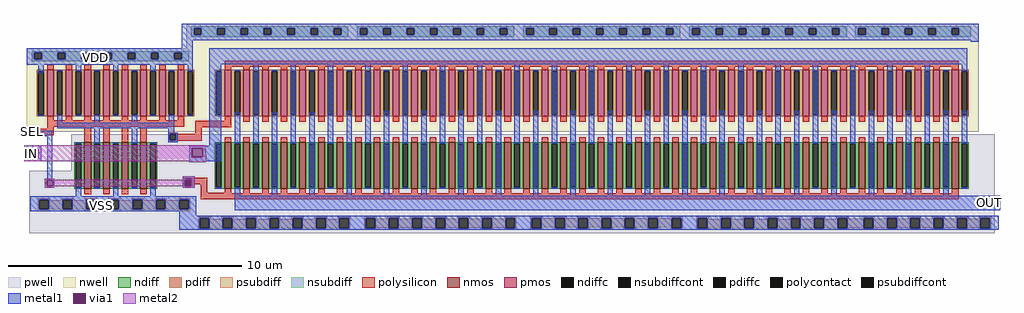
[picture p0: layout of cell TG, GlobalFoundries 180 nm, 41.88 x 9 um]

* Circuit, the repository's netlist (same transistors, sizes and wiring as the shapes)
** sch_path: /home/shahid/GF180Projects/GF_INV/Xschem/TG.sch
**.subckt TG VDD VSS IN SEL OUT
*.iopin VDD
*.iopin VSS
*.ipin IN
*.ipin SEL
*.opin OUT
XM8 IN SEL_B OUT VDD pfet_03v3 L=0.28u W=80u nf=1 ad='int((nf+1)/2) * W/nf * 0.18u' as='int((nf+2)/2) * W/nf * 0.18u'
+ pd='2*int((nf+1)/2) * (W/nf + 0.18u)' ps='2*int((nf+2)/2) * (W/nf + 0.18u)' nrd='0.18u / W' nrs='0.18u / W'
+ sa=0 sb=0 sd=0 m=1
XM12 SEL_B SEL VSS VSS nfet_03v3 L=0.28u W=8u nf=1 ad='int((nf+1)/2) * W/nf * 0.18u' as='int((nf+2)/2) * W/nf * 0.18u'
+ pd='2*int((nf+1)/2) * (W/nf + 0.18u)' ps='2*int((nf+2)/2) * (W/nf + 0.18u)' nrd='0.18u / W' nrs='0.18u / W'
+ sa=0 sb=0 sd=0 m=1
XM1 SEL_B SEL VDD VDD pfet_03v3 L=0.28u W=16u nf=1 ad='int((nf+1)/2) * W/nf * 0.18u' as='int((nf+2)/2) * W/nf * 0.18u'
+ pd='2*int((nf+1)/2) * (W/nf + 0.18u)' ps='2*int((nf+2)/2) * (W/nf + 0.18u)' nrd='0.18u / W' nrs='0.18u / W'
+ sa=0 sb=0 sd=0 m=1
XM2 IN SEL OUT VSS nfet_03v3 L=0.28u W=80u nf=1 ad='int((nf+1)/2) * W/nf * 0.18u' as='int((nf+2)/2) * W/nf * 0.18u'
+ pd='2*int((nf+1)/2) * (W/nf + 0.18u)' ps='2*int((nf+2)/2) * (W/nf + 0.18u)' nrd='0.18u / W' nrs='0.18u / W'
+ sa=0 sb=0 sd=0 m=1
**.ends
.end

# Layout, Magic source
magic
tech gf180mcuC
magscale 1 10
<< nwell >>
rect -1270 60 5529 271
rect -2639 5 5529 60
rect -2374 -36 -2311 5
rect -2174 -36 -2111 5
rect -1974 -36 -1911 5
rect -1774 -36 -1711 5
rect -1574 -36 -1511 5
rect -1374 -36 -1311 5
rect -1270 -72 5529 5
<< pwell >>
rect -1498 -993 -517 -680
rect 4061 -993 5664 -680
rect -2620 -1529 5664 -993
<< psubdiff >>
rect -2544 -1240 -2437 -1226
rect -2544 -1324 -2531 -1240
rect -2450 -1244 -2437 -1240
rect -2344 -1240 -2237 -1226
rect -2344 -1244 -2331 -1240
rect -2450 -1322 -2331 -1244
rect -2450 -1324 -2437 -1322
rect -2544 -1339 -2437 -1324
rect -2344 -1324 -2331 -1322
rect -2250 -1244 -2237 -1240
rect -2144 -1240 -2037 -1226
rect -2144 -1244 -2131 -1240
rect -2250 -1322 -2131 -1244
rect -2250 -1324 -2237 -1322
rect -2344 -1339 -2237 -1324
rect -2144 -1324 -2131 -1322
rect -2050 -1244 -2037 -1240
rect -1944 -1240 -1837 -1226
rect -1944 -1244 -1931 -1240
rect -2050 -1322 -1931 -1244
rect -2050 -1324 -2037 -1322
rect -2144 -1339 -2037 -1324
rect -1944 -1324 -1931 -1322
rect -1850 -1244 -1837 -1240
rect -1744 -1240 -1637 -1226
rect -1744 -1244 -1731 -1240
rect -1850 -1322 -1731 -1244
rect -1850 -1324 -1837 -1322
rect -1944 -1339 -1837 -1324
rect -1744 -1324 -1731 -1322
rect -1650 -1244 -1637 -1240
rect -1544 -1240 -1437 -1226
rect -1544 -1244 -1531 -1240
rect -1650 -1322 -1531 -1244
rect -1650 -1324 -1637 -1322
rect -1744 -1339 -1637 -1324
rect -1544 -1324 -1531 -1322
rect -1450 -1244 -1437 -1240
rect -1344 -1240 -1237 -1226
rect -1344 -1244 -1331 -1240
rect -1450 -1322 -1331 -1244
rect -1450 -1324 -1437 -1322
rect -1544 -1339 -1437 -1324
rect -1344 -1324 -1331 -1322
rect -1250 -1324 -1237 -1240
rect -1344 -1339 -1237 -1324
rect -1170 -1400 -1063 -1386
rect -1170 -1484 -1157 -1400
rect -1076 -1406 -1063 -1400
rect -970 -1400 -863 -1386
rect -970 -1406 -957 -1400
rect -1076 -1484 -957 -1406
rect -876 -1406 -863 -1400
rect -770 -1400 -663 -1386
rect -770 -1406 -757 -1400
rect -876 -1484 -757 -1406
rect -676 -1406 -663 -1400
rect -570 -1400 -463 -1386
rect -570 -1406 -557 -1400
rect -676 -1484 -557 -1406
rect -476 -1406 -463 -1400
rect -370 -1400 -263 -1386
rect -370 -1406 -357 -1400
rect -476 -1484 -357 -1406
rect -276 -1406 -263 -1400
rect -170 -1400 -63 -1386
rect -170 -1406 -157 -1400
rect -276 -1484 -157 -1406
rect -76 -1406 -63 -1400
rect 30 -1400 137 -1386
rect 30 -1406 43 -1400
rect -76 -1484 43 -1406
rect 124 -1484 137 -1400
rect -1170 -1499 -1063 -1484
rect -970 -1499 -863 -1484
rect -770 -1499 -663 -1484
rect -570 -1499 -463 -1484
rect -370 -1499 -263 -1484
rect -170 -1499 -63 -1484
rect 30 -1499 137 -1484
rect 255 -1400 362 -1386
rect 255 -1484 268 -1400
rect 349 -1404 362 -1400
rect 455 -1400 562 -1386
rect 455 -1404 468 -1400
rect 349 -1482 468 -1404
rect 349 -1484 362 -1482
rect 255 -1499 362 -1484
rect 455 -1484 468 -1482
rect 549 -1404 562 -1400
rect 655 -1400 762 -1386
rect 655 -1404 668 -1400
rect 549 -1482 668 -1404
rect 549 -1484 562 -1482
rect 455 -1499 562 -1484
rect 655 -1484 668 -1482
rect 749 -1404 762 -1400
rect 855 -1400 962 -1386
rect 855 -1404 868 -1400
rect 749 -1482 868 -1404
rect 749 -1484 762 -1482
rect 655 -1499 762 -1484
rect 855 -1484 868 -1482
rect 949 -1404 962 -1400
rect 1055 -1400 1162 -1386
rect 1055 -1404 1068 -1400
rect 949 -1482 1068 -1404
rect 949 -1484 962 -1482
rect 855 -1499 962 -1484
rect 1055 -1484 1068 -1482
rect 1149 -1404 1162 -1400
rect 1255 -1400 1362 -1386
rect 1255 -1404 1268 -1400
rect 1149 -1482 1268 -1404
rect 1149 -1484 1162 -1482
rect 1055 -1499 1162 -1484
rect 1255 -1484 1268 -1482
rect 1349 -1404 1362 -1400
rect 1455 -1400 1562 -1386
rect 1455 -1404 1468 -1400
rect 1349 -1482 1468 -1404
rect 1349 -1484 1362 -1482
rect 1255 -1499 1362 -1484
rect 1455 -1484 1468 -1482
rect 1549 -1484 1562 -1400
rect 1455 -1499 1562 -1484
rect 1680 -1400 1787 -1386
rect 1880 -1400 1987 -1386
rect 2080 -1400 2187 -1386
rect 2280 -1400 2387 -1386
rect 2480 -1400 2587 -1386
rect 2680 -1400 2787 -1386
rect 2880 -1400 2987 -1386
rect 1680 -1484 1693 -1400
rect 1774 -1478 1893 -1400
rect 1774 -1484 1787 -1478
rect 1680 -1499 1787 -1484
rect 1880 -1484 1893 -1478
rect 1974 -1478 2093 -1400
rect 1974 -1484 1987 -1478
rect 1880 -1499 1987 -1484
rect 2080 -1484 2093 -1478
rect 2174 -1478 2293 -1400
rect 2174 -1484 2187 -1478
rect 2080 -1499 2187 -1484
rect 2280 -1484 2293 -1478
rect 2374 -1478 2493 -1400
rect 2374 -1484 2387 -1478
rect 2280 -1499 2387 -1484
rect 2480 -1484 2493 -1478
rect 2574 -1478 2693 -1400
rect 2574 -1484 2587 -1478
rect 2480 -1499 2587 -1484
rect 2680 -1484 2693 -1478
rect 2774 -1478 2893 -1400
rect 2774 -1484 2787 -1478
rect 2680 -1499 2787 -1484
rect 2880 -1484 2893 -1478
rect 2974 -1484 2987 -1400
rect 2880 -1499 2987 -1484
rect 3105 -1400 3212 -1386
rect 3105 -1484 3118 -1400
rect 3199 -1408 3212 -1400
rect 3305 -1400 3412 -1386
rect 3305 -1408 3318 -1400
rect 3199 -1484 3318 -1408
rect 3399 -1408 3412 -1400
rect 3505 -1400 3612 -1386
rect 3505 -1408 3518 -1400
rect 3399 -1484 3518 -1408
rect 3599 -1408 3612 -1400
rect 3705 -1400 3812 -1386
rect 3705 -1408 3718 -1400
rect 3599 -1484 3718 -1408
rect 3799 -1408 3812 -1400
rect 3905 -1400 4012 -1386
rect 3905 -1408 3918 -1400
rect 3799 -1484 3918 -1408
rect 3999 -1408 4012 -1400
rect 4105 -1400 4212 -1386
rect 4105 -1408 4118 -1400
rect 3999 -1484 4118 -1408
rect 4199 -1408 4212 -1400
rect 4305 -1400 4412 -1386
rect 4305 -1408 4318 -1400
rect 4199 -1484 4318 -1408
rect 4399 -1404 4412 -1400
rect 4530 -1400 4637 -1386
rect 4530 -1404 4543 -1400
rect 4399 -1482 4543 -1404
rect 4399 -1484 4412 -1482
rect 3105 -1486 4412 -1484
rect 3105 -1499 3212 -1486
rect 3305 -1499 3412 -1486
rect 3505 -1499 3612 -1486
rect 3705 -1499 3812 -1486
rect 3905 -1499 4012 -1486
rect 4105 -1499 4212 -1486
rect 4305 -1499 4412 -1486
rect 4530 -1484 4543 -1482
rect 4624 -1404 4637 -1400
rect 4730 -1400 4837 -1386
rect 4730 -1404 4743 -1400
rect 4624 -1482 4743 -1404
rect 4624 -1484 4637 -1482
rect 4530 -1499 4637 -1484
rect 4730 -1484 4743 -1482
rect 4824 -1404 4837 -1400
rect 4930 -1400 5037 -1386
rect 4930 -1404 4943 -1400
rect 4824 -1482 4943 -1404
rect 4824 -1484 4837 -1482
rect 4730 -1499 4837 -1484
rect 4930 -1484 4943 -1482
rect 5024 -1404 5037 -1400
rect 5130 -1400 5237 -1386
rect 5130 -1404 5143 -1400
rect 5024 -1482 5143 -1404
rect 5024 -1484 5037 -1482
rect 4930 -1499 5037 -1484
rect 5130 -1484 5143 -1482
rect 5224 -1404 5237 -1400
rect 5330 -1400 5437 -1386
rect 5330 -1404 5343 -1400
rect 5224 -1482 5343 -1404
rect 5224 -1484 5237 -1482
rect 5130 -1499 5237 -1484
rect 5330 -1484 5343 -1482
rect 5424 -1404 5437 -1400
rect 5530 -1400 5637 -1386
rect 5530 -1404 5543 -1400
rect 5424 -1482 5543 -1404
rect 5424 -1484 5437 -1482
rect 5330 -1499 5437 -1484
rect 5530 -1484 5543 -1482
rect 5624 -1484 5637 -1400
rect 5530 -1499 5637 -1484
<< nsubdiff >>
rect -1230 233 119 247
rect -1230 175 -1205 233
rect -1142 175 -1005 233
rect -942 175 -805 233
rect -742 175 -605 233
rect -542 175 -405 233
rect -342 175 -205 233
rect -142 175 -5 233
rect 58 175 119 233
rect -1230 159 119 175
rect 195 233 1544 247
rect 195 175 220 233
rect 283 175 420 233
rect 483 175 620 233
rect 683 175 820 233
rect 883 175 1020 233
rect 1083 175 1220 233
rect 1283 175 1420 233
rect 1483 175 1544 233
rect 195 159 1544 175
rect 1620 233 2969 247
rect 1620 175 1645 233
rect 1708 175 1845 233
rect 1908 175 2045 233
rect 2108 175 2245 233
rect 2308 175 2445 233
rect 2508 175 2645 233
rect 2708 175 2845 233
rect 2908 175 2969 233
rect 1620 159 2969 175
rect 3045 233 4394 247
rect 3045 175 3070 233
rect 3133 175 3270 233
rect 3333 175 3470 233
rect 3533 175 3670 233
rect 3733 175 3870 233
rect 3933 175 4070 233
rect 4133 175 4270 233
rect 4333 175 4394 233
rect 3045 159 4394 175
rect 4470 233 5458 247
rect 4470 175 4495 233
rect 4558 175 4695 233
rect 4758 175 4895 233
rect 4958 175 5095 233
rect 5158 175 5295 233
rect 5358 175 5458 233
rect 4470 159 5458 175
rect -2599 22 -1250 36
rect -2599 -36 -2574 22
rect -2511 -36 -2374 22
rect -2311 -36 -2174 22
rect -2111 -36 -1974 22
rect -1911 -36 -1774 22
rect -1711 -36 -1574 22
rect -1511 -36 -1374 22
rect -1311 -36 -1250 22
rect -2599 -52 -1250 -36
<< psubdiffcont >>
rect -2531 -1324 -2450 -1240
rect -2331 -1324 -2250 -1240
rect -2131 -1324 -2050 -1240
rect -1931 -1324 -1850 -1240
rect -1731 -1324 -1650 -1240
rect -1531 -1324 -1450 -1240
rect -1331 -1324 -1250 -1240
rect -1157 -1484 -1076 -1400
rect -957 -1484 -876 -1400
rect -757 -1484 -676 -1400
rect -557 -1484 -476 -1400
rect -357 -1484 -276 -1400
rect -157 -1484 -76 -1400
rect 43 -1484 124 -1400
rect 268 -1484 349 -1400
rect 468 -1484 549 -1400
rect 668 -1484 749 -1400
rect 868 -1484 949 -1400
rect 1068 -1484 1149 -1400
rect 1268 -1484 1349 -1400
rect 1468 -1484 1549 -1400
rect 1693 -1484 1774 -1400
rect 1893 -1484 1974 -1400
rect 2093 -1484 2174 -1400
rect 2293 -1484 2374 -1400
rect 2493 -1484 2574 -1400
rect 2693 -1484 2774 -1400
rect 2893 -1484 2974 -1400
rect 3118 -1484 3199 -1400
rect 3318 -1484 3399 -1400
rect 3518 -1484 3599 -1400
rect 3718 -1484 3799 -1400
rect 3918 -1484 3999 -1400
rect 4118 -1484 4199 -1400
rect 4318 -1484 4399 -1400
rect 4543 -1484 4624 -1400
rect 4743 -1484 4824 -1400
rect 4943 -1484 5024 -1400
rect 5143 -1484 5224 -1400
rect 5343 -1484 5424 -1400
rect 5543 -1484 5624 -1400
<< nsubdiffcont >>
rect -1205 175 -1142 233
rect -1005 175 -942 233
rect -805 175 -742 233
rect -605 175 -542 233
rect -405 175 -342 233
rect -205 175 -142 233
rect -5 175 58 233
rect 220 175 283 233
rect 420 175 483 233
rect 620 175 683 233
rect 820 175 883 233
rect 1020 175 1083 233
rect 1220 175 1283 233
rect 1420 175 1483 233
rect 1645 175 1708 233
rect 1845 175 1908 233
rect 2045 175 2108 233
rect 2245 175 2308 233
rect 2445 175 2508 233
rect 2645 175 2708 233
rect 2845 175 2908 233
rect 3070 175 3133 233
rect 3270 175 3333 233
rect 3470 175 3533 233
rect 3670 175 3733 233
rect 3870 175 3933 233
rect 4070 175 4133 233
rect 4270 175 4333 233
rect 4495 175 4558 233
rect 4695 175 4758 233
rect 4895 175 4958 233
rect 5095 175 5158 233
rect 5295 175 5358 233
rect -2574 -36 -2511 22
rect -2374 -36 -2311 22
rect -2174 -36 -2111 22
rect -1974 -36 -1911 22
rect -1774 -36 -1711 22
rect -1574 -36 -1511 22
rect -1374 -36 -1311 22
<< polysilicon >>
rect -941 -101 5355 -48
rect -941 -129 -888 -101
rect -2631 -626 -2544 -613
rect -2631 -678 -2616 -626
rect -2564 -629 -2544 -626
rect -2465 -616 -1289 -560
rect -2465 -629 -2409 -616
rect -2564 -678 -2409 -629
rect -2631 -685 -2409 -678
rect -2631 -696 -2544 -685
rect -2145 -704 -2089 -616
rect -1985 -704 -1929 -616
rect -1825 -704 -1769 -616
rect -1665 -704 -1609 -616
rect -1195 -619 -885 -563
rect -1428 -676 -1346 -667
rect -1195 -676 -1139 -619
rect -1428 -680 -1139 -676
rect -1428 -731 -1415 -680
rect -1362 -731 -1139 -680
rect -1428 -732 -1139 -731
rect -1428 -745 -1346 -732
rect -1302 -1051 -1197 -1037
rect -1302 -1058 -1093 -1051
rect -1302 -1106 -1281 -1058
rect -1223 -1106 -1093 -1058
rect -1302 -1107 -1093 -1106
rect -1302 -1137 -1197 -1107
rect -1149 -1182 -1093 -1107
rect -941 -1182 -886 -1142
rect -1149 -1183 -885 -1182
rect -1149 -1238 5355 -1183
<< polycontact >>
rect -2616 -678 -2564 -626
rect -1415 -731 -1362 -680
rect -1281 -1106 -1223 -1058
<< metal1 >>
rect -1311 233 5529 271
rect -1311 175 -1205 233
rect -1142 175 -1005 233
rect -942 175 -805 233
rect -742 175 -605 233
rect -542 175 -405 233
rect -342 175 -205 233
rect -142 175 -5 233
rect 58 175 220 233
rect 283 175 420 233
rect 483 175 620 233
rect 683 175 820 233
rect 883 175 1020 233
rect 1083 175 1220 233
rect 1283 175 1420 233
rect 1483 175 1645 233
rect 1708 175 1845 233
rect 1908 175 2045 233
rect 2108 175 2245 233
rect 2308 175 2445 233
rect 2508 175 2645 233
rect 2708 175 2845 233
rect 2908 175 3070 233
rect 3133 175 3270 233
rect 3333 175 3470 233
rect 3533 175 3670 233
rect 3733 175 3870 233
rect 3933 175 4070 233
rect 4133 175 4270 233
rect 4333 175 4495 233
rect 4558 175 4695 233
rect 4758 175 4895 233
rect 4958 175 5095 233
rect 5158 175 5295 233
rect 5358 175 5529 233
rect -1311 130 5529 175
rect -1311 60 -1214 130
rect 5458 117 5529 130
rect -2639 22 -1214 60
rect -2639 -36 -2574 22
rect -2511 -36 -2374 22
rect -2311 -36 -2174 22
rect -2111 -36 -1974 22
rect -1911 -36 -1774 22
rect -1711 -36 -1574 22
rect -1511 -36 -1374 22
rect -1311 -36 -1214 22
rect -2639 -81 -1214 -36
rect -2540 -149 -2494 -81
rect -2220 -127 -2174 -81
rect -1900 -127 -1854 -81
rect -1580 -127 -1534 -81
rect -1260 -131 -1214 -81
rect -1075 -79 5430 60
rect -2380 -580 -2334 -522
rect -2060 -580 -2014 -522
rect -1740 -580 -1694 -523
rect -1420 -580 -1374 -523
rect -2631 -626 -2544 -613
rect -2380 -626 -1374 -580
rect -2631 -678 -2616 -626
rect -2564 -649 -2544 -626
rect -2564 -678 -2420 -649
rect -2631 -695 -2420 -678
rect -2631 -696 -2544 -695
rect -2664 -804 -2518 -774
rect -2664 -885 -2638 -804
rect -2542 -885 -2518 -804
rect -2664 -911 -2518 -885
rect -2466 -1059 -2420 -695
rect -2060 -750 -2014 -626
rect -1740 -755 -1694 -626
rect -1428 -667 -1374 -626
rect -1428 -680 -1346 -667
rect -1428 -731 -1415 -680
rect -1362 -731 -1346 -680
rect -1428 -745 -1346 -731
rect -1075 -779 -970 -79
rect -856 -750 -810 -489
rect -696 -750 -650 -79
rect -1246 -798 -970 -779
rect -1246 -874 -1224 -798
rect -1130 -874 -970 -798
rect -1246 -911 -970 -874
rect -1246 -917 -1103 -911
rect -1302 -1058 -1197 -1037
rect -2486 -1071 -2404 -1059
rect -2486 -1125 -2470 -1071
rect -2416 -1125 -2404 -1071
rect -2486 -1137 -2404 -1125
rect -1302 -1070 -1281 -1058
rect -1302 -1126 -1285 -1070
rect -1223 -1106 -1197 -1058
rect -1229 -1126 -1197 -1106
rect -1302 -1137 -1197 -1126
rect -2220 -1212 -2174 -1143
rect -1900 -1212 -1854 -1145
rect -1580 -1212 -1534 -1146
rect -856 -1205 -810 -1146
rect -536 -1205 -490 -489
rect -376 -750 -330 -79
rect -216 -1205 -170 -489
rect -56 -750 -10 -79
rect 104 -1205 150 -478
rect 264 -750 310 -79
rect 424 -1205 470 -478
rect 584 -750 630 -79
rect 744 -1205 790 -478
rect 904 -750 950 -79
rect 1064 -1205 1110 -478
rect 1224 -750 1270 -79
rect 1384 -1205 1430 -478
rect 1544 -750 1590 -79
rect 1704 -1205 1750 -478
rect 1864 -750 1910 -79
rect 2024 -1205 2070 -478
rect 2184 -750 2230 -79
rect 2344 -1205 2390 -478
rect 2504 -750 2550 -79
rect 2664 -1205 2710 -478
rect 2824 -750 2870 -79
rect 2984 -1205 3030 -478
rect 3144 -750 3190 -79
rect 3304 -1205 3350 -478
rect 3464 -750 3510 -79
rect 3624 -1205 3670 -478
rect 3784 -750 3830 -79
rect 3944 -1205 3990 -478
rect 4104 -750 4150 -79
rect 4264 -1205 4310 -478
rect 4424 -750 4470 -79
rect 4584 -1205 4630 -478
rect 4744 -750 4790 -79
rect 4904 -1205 4950 -478
rect 5064 -750 5110 -79
rect 5384 -127 5430 -79
rect 5224 -1205 5270 -478
rect 5384 -750 5430 -478
rect -2612 -1240 -1187 -1212
rect -2612 -1324 -2531 -1240
rect -2450 -1324 -2331 -1240
rect -2250 -1324 -2131 -1240
rect -2050 -1324 -1931 -1240
rect -1850 -1324 -1731 -1240
rect -1650 -1324 -1531 -1240
rect -1450 -1324 -1331 -1240
rect -1250 -1324 -1187 -1240
rect -2612 -1339 -1187 -1324
rect -856 -1332 5711 -1205
rect -1333 -1378 -1187 -1339
rect -1333 -1400 5702 -1378
rect -1333 -1484 -1157 -1400
rect -1076 -1484 -957 -1400
rect -876 -1484 -757 -1400
rect -676 -1484 -557 -1400
rect -476 -1484 -357 -1400
rect -276 -1484 -157 -1400
rect -76 -1484 43 -1400
rect 124 -1484 268 -1400
rect 349 -1484 468 -1400
rect 549 -1484 668 -1400
rect 749 -1484 868 -1400
rect 949 -1484 1068 -1400
rect 1149 -1484 1268 -1400
rect 1349 -1484 1468 -1400
rect 1549 -1484 1693 -1400
rect 1774 -1484 1893 -1400
rect 1974 -1484 2093 -1400
rect 2174 -1484 2293 -1400
rect 2374 -1484 2493 -1400
rect 2574 -1484 2693 -1400
rect 2774 -1484 2893 -1400
rect 2974 -1484 3118 -1400
rect 3199 -1484 3318 -1400
rect 3399 -1484 3518 -1400
rect 3599 -1484 3718 -1400
rect 3799 -1484 3918 -1400
rect 3999 -1484 4118 -1400
rect 4199 -1484 4318 -1400
rect 4399 -1484 4543 -1400
rect 4624 -1484 4743 -1400
rect 4824 -1484 4943 -1400
rect 5024 -1484 5143 -1400
rect 5224 -1484 5343 -1400
rect 5424 -1484 5543 -1400
rect 5624 -1484 5702 -1400
rect -1333 -1499 5702 -1484
<< via1 >>
rect -2638 -885 -2542 -804
rect -1224 -874 -1130 -798
rect -2470 -1125 -2416 -1071
rect -1285 -1106 -1281 -1070
rect -1281 -1106 -1229 -1070
rect -1285 -1126 -1229 -1106
<< metal2 >>
rect -2664 -798 -1103 -774
rect -2664 -804 -1224 -798
rect -2664 -885 -2638 -804
rect -2542 -874 -1224 -804
rect -1130 -847 -1103 -798
rect -1130 -874 -1101 -847
rect -2542 -885 -1101 -874
rect -2664 -911 -1101 -885
rect -1246 -917 -1103 -911
rect -2486 -1070 -2404 -1059
rect -1302 -1070 -1197 -1037
rect -2486 -1071 -1285 -1070
rect -2486 -1125 -2470 -1071
rect -2416 -1125 -1285 -1071
rect -2486 -1126 -1285 -1125
rect -1229 -1126 -1197 -1070
rect -2486 -1137 -2404 -1126
rect -1302 -1137 -1197 -1126
use nmos_3p3_AEBEG7  nmos_3p3_AEBEG7_0
transform 1 0 2207 0 1 -948
box -3260 -268 3260 268
use nmos_3p3_ECASTA  nmos_3p3_ECASTA_0
transform 1 0 -1877 0 1 -948
box -380 -268 380 268
use pmos_3p3_MLZUAR  pmos_3p3_MLZUAR_0
transform 1 0 -1877 0 1 -325
box -762 -330 762 330
use pmos_3p3_Q3Y3KU  pmos_3p3_Q3Y3KU_0
transform 1 0 2207 0 1 -325
box -3322 -330 3322 330
<< labels >>
flabel metal1 -2050 -19 -2050 -19 0 FreeSans 480 0 0 0 VDD
port 0 nsew
flabel metal1 -1995 -1290 -1995 -1290 0 FreeSans 480 0 0 0 VSS
port 1 nsew
flabel polycontact -2595 -658 -2595 -658 0 FreeSans 480 0 0 0 SEL
port 2 nsew
flabel metal1 5624 -1262 5624 -1262 0 FreeSans 480 0 0 0 OUT
port 4 nsew
flabel via1 -2601 -841 -2601 -841 0 FreeSans 480 0 0 0 IN
port 3 nsew
<< end >>

# cell nmos_3p3_AEBEG7: kit device nmos_3p3, w 2 l 0.280 m 1 nf 40 diffcov 100 polycov 100 guard 0 glc 0 grc 0 gtc 0 gbc 0 tbcov 100 rlcov 100 topc 0 botc 0 poverlap 0 doverlap 1 lmin 0.28 wmin 0.22 full_metal 0 compatible {nmos_3p3 nmos_6p0 nmos_6p0_nat}

# cell nmos_3p3_ECASTA: kit device nmos_3p3, w 2.0 l 0.280 m 1 nf 4 diffcov 100 polycov 100 guard 0 glc 0 grc 0 gtc 0 gbc 0 tbcov 100 rlcov 100 topc 0 botc 0 poverlap 0 doverlap 1 lmin 0.28 wmin 0.22 full_metal 0 compatible {nmos_3p3 nmos_6p0 nmos_6p0_nat}

# cell pmos_3p3_MLZUAR: kit device pmos_3p3, w 2 l 0.280 m 1 nf 8 diffcov 100 polycov 100 guard 0 glc 0 grc 0 gtc 0 gbc 0 tbcov 100 rlcov 100 topc 0 botc 0 poverlap 0 doverlap 1 lmin 0.28 wmin 0.22 full_metal 0 compatible {pmos_3p3 pmos_6p0}

# cell pmos_3p3_Q3Y3KU: kit device pmos_3p3, w 2 l 0.280 m 1 nf 40 diffcov 100 polycov 100 guard 0 glc 0 grc 0 gtc 0 gbc 0 tbcov 100 rlcov 100 topc 0 botc 0 poverlap 0 doverlap 1 lmin 0.28 wmin 0.22 full_metal 0 compatible {pmos_3p3 pmos_6p0}
